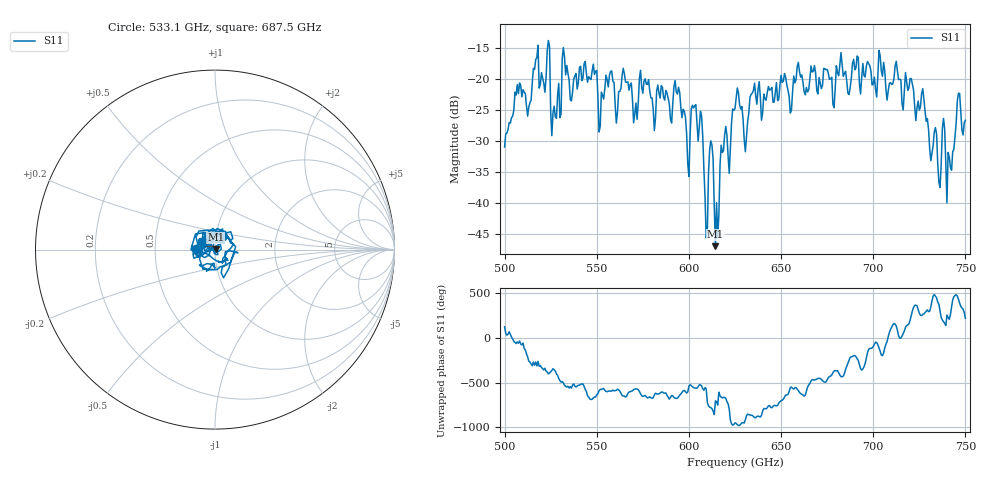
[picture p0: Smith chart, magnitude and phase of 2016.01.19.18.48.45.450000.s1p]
!Created with skrf (http://scikit-rf.org).
# GHz S RI R 50.0
!freq ReS11 ImS11
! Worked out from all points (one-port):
!   401 points, 500 GHz to 750 GHz, reference 50 ohm
!   lowest |S11| = -46.9 dB at 614.4 GHz (marker M1), VSWR 1.01, Z = 50.4 + j0.12 ohm
!   |S11| at or under -10 dB: start of sweep to end of sweep
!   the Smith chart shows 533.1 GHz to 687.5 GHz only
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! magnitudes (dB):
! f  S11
! 500 GHz  -30.9
! 506.9 GHz  -20.9
! 513.1 GHz  -24.5
! 516.9 GHz  -16.8
! 523.1 GHz  -15.3
! 526.9 GHz  -24.3
! 531.2 GHz  -16.7
! 562.5 GHz  -22.0
! 593.8 GHz  -22.4
! 599.4 GHz  -33.6
! 602.5 GHz  -24.6
! 606.2 GHz  -25.2
! 609.4 GHz  -45.6
! 611.9 GHz  -29.9
! 614.4 GHz  -46.9
! 618.8 GHz  -31.5
! 621.9 GHz  -35.2
! 625 GHz  -24.7
! 630.6 GHz  -31.7
! 634.4 GHz  -22.2
! 656.2 GHz  -22.0
! 687.5 GHz  -21.3
! 718.8 GHz  -21.8
! 735.6 GHz  -36.6
! 738.1 GHz  -26.3
! 741.2 GHz  -32.5
! 746.2 GHz  -22.2
! 750 GHz  -26.6
